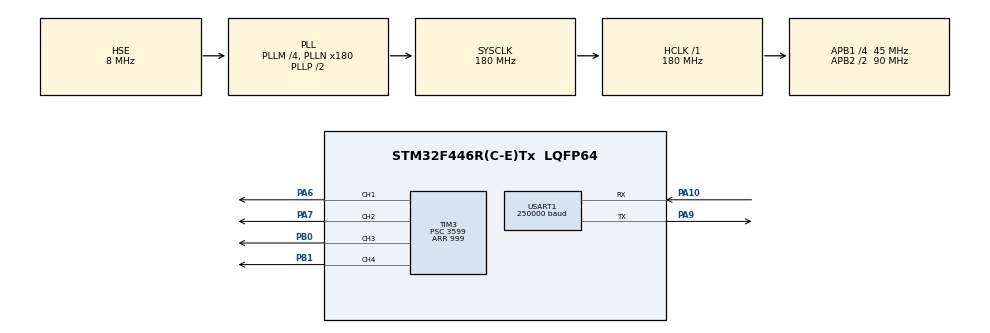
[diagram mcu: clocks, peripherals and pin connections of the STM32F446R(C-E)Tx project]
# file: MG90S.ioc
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Dma.Request0=USART1_RX
Dma.Request1=USART1_TX
Dma.USART1_RX.0.Direction=DMA_PERIPH_TO_MEMORY
Dma.USART1_RX.0.FIFOMode=DMA_FIFOMODE_DISABLE
Dma.USART1_RX.0.Instance=DMA2_Stream2
Dma.USART1_RX.0.MemDataAlignment=DMA_MDATAALIGN_BYTE
Dma.USART1_RX.0.MemInc=DMA_MINC_ENABLE
Dma.USART1_RX.0.Mode=DMA_NORMAL
Dma.USART1_RX.0.PeriphDataAlignment=DMA_PDATAALIGN_BYTE
Dma.USART1_RX.0.PeriphInc=DMA_PINC_DISABLE
Dma.USART1_RX.0.Priority=DMA_PRIORITY_LOW
Dma.USART1_TX.1.Direction=DMA_MEMORY_TO_PERIPH
Dma.USART1_TX.1.FIFOMode=DMA_FIFOMODE_DISABLE
Dma.USART1_TX.1.Instance=DMA2_Stream7
Dma.USART1_TX.1.MemDataAlignment=DMA_MDATAALIGN_BYTE
Dma.USART1_TX.1.MemInc=DMA_MINC_ENABLE
Dma.USART1_TX.1.Mode=DMA_NORMAL
Dma.USART1_TX.1.PeriphDataAlignment=DMA_PDATAALIGN_BYTE
Dma.USART1_TX.1.PeriphInc=DMA_PINC_DISABLE
Dma.USART1_TX.1.Priority=DMA_PRIORITY_LOW
Mcu.Family=STM32F4
Mcu.Name=STM32F446R(C-E)Tx
Mcu.Package=LQFP64
NVIC.DMA2_Stream2_IRQn=true\:0\:0\:false\:false\:true\:false\:true\:true
NVIC.DMA2_Stream7_IRQn=true\:0\:0\:false\:false\:true\:false\:true\:true
NVIC.PriorityGroup=NVIC_PRIORITYGROUP_4
NVIC.USART1_IRQn=true\:0\:0\:false\:false\:true\:true\:true\:true
PA10.Mode=Asynchronous
PA10.Signal=USART1_RX
PA13.Mode=Serial_Wire
PA13.Signal=SYS_JTMS-SWDIO
PA14.Mode=Serial_Wire
PA14.Signal=SYS_JTCK-SWCLK
PA6.Signal=S_TIM3_CH1
PA7.Signal=S_TIM3_CH2
PA9.Mode=Asynchronous
PA9.Signal=USART1_TX
PB0.Signal=S_TIM3_CH3
PB1.Signal=S_TIM3_CH4
PH0-OSC_IN.Mode=HSE-External-Clock-Source
PH0-OSC_IN.Signal=RCC_OSC_IN
PH1-OSC_OUT.Mode=HSE-External-Clock-Source
PH1-OSC_OUT.Signal=RCC_OSC_OUT
ProjectManager.HeapSize=0x200
ProjectManager.StackSize=0x400
ProjectManager.TargetToolchain=CMake
RCC.AHBFreq_Value=180000000
RCC.APB1CLKDivider=RCC_HCLK_DIV4
RCC.APB1Freq_Value=45000000
RCC.APB1TimFreq_Value=90000000
RCC.APB2CLKDivider=RCC_HCLK_DIV2
RCC.APB2Freq_Value=90000000
RCC.APB2TimFreq_Value=180000000
RCC.CortexFreq_Value=180000000
RCC.HCLKFreq_Value=180000000
RCC.HSE_VALUE=8000000
RCC.PLLM=4
RCC.PLLN=180
RCC.PLLSourceVirtual=RCC_PLLSOURCE_HSE
RCC.SYSCLKFreq_VALUE=180000000
RCC.SYSCLKSource=RCC_SYSCLKSOURCE_PLLCLK
RCC.USBFreq_Value=180000000
RCC.VCOOutputFreq_Value=360000000
SH.S_TIM3_CH1.0=TIM3_CH1,PWM Generation1 CH1
SH.S_TIM3_CH2.0=TIM3_CH2,PWM Generation2 CH2
SH.S_TIM3_CH3.0=TIM3_CH3,PWM Generation3 CH3
SH.S_TIM3_CH4.0=TIM3_CH4,PWM Generation4 CH4
TIM3.AutoReloadPreload=TIM_AUTORELOAD_PRELOAD_ENABLE
TIM3.Channel-PWM\ Generation1\ CH1=TIM_CHANNEL_1
TIM3.Channel-PWM\ Generation2\ CH2=TIM_CHANNEL_2
TIM3.Channel-PWM\ Generation3\ CH3=TIM_CHANNEL_3
TIM3.Channel-PWM\ Generation4\ CH4=TIM_CHANNEL_4
TIM3.Period=999
TIM3.Prescaler=3599
USART1.BaudRate=250000
USART1.VirtualMode=VM_ASYNC
VP_TIM3_VS_ClockSourceINT.Mode=Internal
board=custom

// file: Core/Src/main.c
/* USER CODE BEGIN Header */
/**
 ******************************************************************************
 * @file           : main.c
 * @brief          : Main program body
 ******************************************************************************
 * @attention
 *
 * Copyright (c) 2024 STMicroelectronics.
 * All rights reserved.
 *
 * This software is licensed under terms that can be found in the LICENSE file
 * in the root directory of this software component.
 * If no LICENSE file comes with this software, it is provided AS-IS.
 *
 ******************************************************************************
 */
/* USER CODE END Header */
#include "main.h"
#include "dma.h"
#include "tim.h"
#include "usart.h"
#include "gpio.h"

/* USER CODE BEGIN PV */

uint8_t uart_receive_buffer[UART_RECEIVE_BUFFER_SIZE];

uint16_t compare = 0;
int8_t compare_step = 1;

/* USER CODE END PV */

void SystemClock_Config(void);

int main(void)
{

  /* MCU Configuration--------------------------------------------------------*/

  /* Reset of all peripherals, Initializes the Flash interface and the Systick. */
  HAL_Init();

  /* Configure the system clock */
  SystemClock_Config();

  /* Initialize all configured peripherals */
  MX_GPIO_Init();
  MX_DMA_Init();
  MX_TIM3_Init();
  MX_USART1_UART_Init();
  /* USER CODE BEGIN 2 */

	__HAL_UART_ENABLE_IT(&huart1, UART_IT_IDLE); // 使能 USART 1 空闲中断

	HAL_UART_Receive_DMA(&huart1, uart_receive_buffer, UART_RECEIVE_BUFFER_SIZE);
	HAL_UART_Transmit_DMA(&huart1, (uint8_t *)"Compare: ", 9);

	// Start the timer
	HAL_TIM_PWM_Start(&htim3, TIM_CHANNEL_1);
	HAL_TIM_PWM_Start(&htim3, TIM_CHANNEL_2);
	HAL_TIM_PWM_Start(&htim3, TIM_CHANNEL_3);
	HAL_TIM_PWM_Start(&htim3, TIM_CHANNEL_4);

	//__HAL_TIM_SET_COMPARE(&htim3, TIM_CHANNEL_1, compare);
	__HAL_TIM_SET_COMPARE(&htim3, TIM_CHANNEL_1, 200);
	__HAL_TIM_SET_COMPARE(&htim3, TIM_CHANNEL_2, 400);

	__HAL_TIM_SET_COMPARE(&htim3, TIM_CHANNEL_3, 600);
	__HAL_TIM_SET_COMPARE(&htim3, TIM_CHANNEL_4, 800);

  /* USER CODE END 2 */

  /* Infinite loop */
  /* USER CODE BEGIN WHILE */
	while (1) {

		if (compare >= 48) {
			compare_step = -1;
		} else if (compare <= 17) {
			compare_step = 1;
		}
		compare += compare_step;

		__HAL_TIM_SET_COMPARE(&htim3, TIM_CHANNEL_1, compare);
		__HAL_TIM_SET_COMPARE(&htim3, TIM_CHANNEL_2, compare);
		__HAL_TIM_SET_COMPARE(&htim3, TIM_CHANNEL_3, compare);
		__HAL_TIM_SET_COMPARE(&htim3, TIM_CHANNEL_4, compare);

		HAL_Delay(50);

    /* USER CODE END WHILE */

	}
}

void SystemClock_Config(void)
{
  RCC_OscInitTypeDef RCC_OscInitStruct = {0};
  RCC_ClkInitTypeDef RCC_ClkInitStruct = {0};

  /** Configure the main internal regulator output voltage
  */
  __HAL_RCC_PWR_CLK_ENABLE();
  __HAL_PWR_VOLTAGESCALING_CONFIG(PWR_REGULATOR_VOLTAGE_SCALE1);

  /** Initializes the RCC Oscillators according to the specified parameters
  * in the RCC_OscInitTypeDef structure.
  */
  RCC_OscInitStruct.OscillatorType = RCC_OSCILLATORTYPE_HSE;
  RCC_OscInitStruct.HSEState = RCC_HSE_BYPASS;
  RCC_OscInitStruct.PLL.PLLState = RCC_PLL_ON;
  RCC_OscInitStruct.PLL.PLLSource = RCC_PLLSOURCE_HSE;
  RCC_OscInitStruct.PLL.PLLM = 4;
  RCC_OscInitStruct.PLL.PLLN = 180;
  RCC_OscInitStruct.PLL.PLLP = RCC_PLLP_DIV2;
  RCC_OscInitStruct.PLL.PLLQ = 2;
  RCC_OscInitStruct.PLL.PLLR = 2;
  if (HAL_RCC_OscConfig(&RCC_OscInitStruct) != HAL_OK)
  {
    Error_Handler();
  }

  /** Activate the Over-Drive mode
  */
  if (HAL_PWREx_EnableOverDrive() != HAL_OK)
  {
    Error_Handler();
  }

  /** Initializes the CPU, AHB and APB buses clocks
  */
  RCC_ClkInitStruct.ClockType = RCC_CLOCKTYPE_HCLK|RCC_CLOCKTYPE_SYSCLK
                              |RCC_CLOCKTYPE_PCLK1|RCC_CLOCKTYPE_PCLK2;
  RCC_ClkInitStruct.SYSCLKSource = RCC_SYSCLKSOURCE_PLLCLK;
  RCC_ClkInitStruct.AHBCLKDivider = RCC_SYSCLK_DIV1;
  RCC_ClkInitStruct.APB1CLKDivider = RCC_HCLK_DIV4;
  RCC_ClkInitStruct.APB2CLKDivider = RCC_HCLK_DIV2;

  if (HAL_RCC_ClockConfig(&RCC_ClkInitStruct, FLASH_LATENCY_5) != HAL_OK)
  {
    Error_Handler();
  }
}

void Error_Handler(void)
{
	__disable_irq();
	while (1) {
	}
}

#ifdef  USE_FULL_ASSERT
/**
  * @brief  Reports the name of the source file and the source line number
  *         where the assert_param error has occurred.
  * @param  file: pointer to the source file name
  * @param  line: assert_param error line source number
  * @retval None
  */
void assert_failed(uint8_t *file, uint32_t line)
{
  /* USER CODE BEGIN 6 */
	  /* User can add his own implementation to report the file name and line
		   number, ex: printf("Wrong parameters value: file %s on line %d\r\n", file,
		   line) */
  /* USER CODE END 6 */
}
#endif /* USE_FULL_ASSERT */
